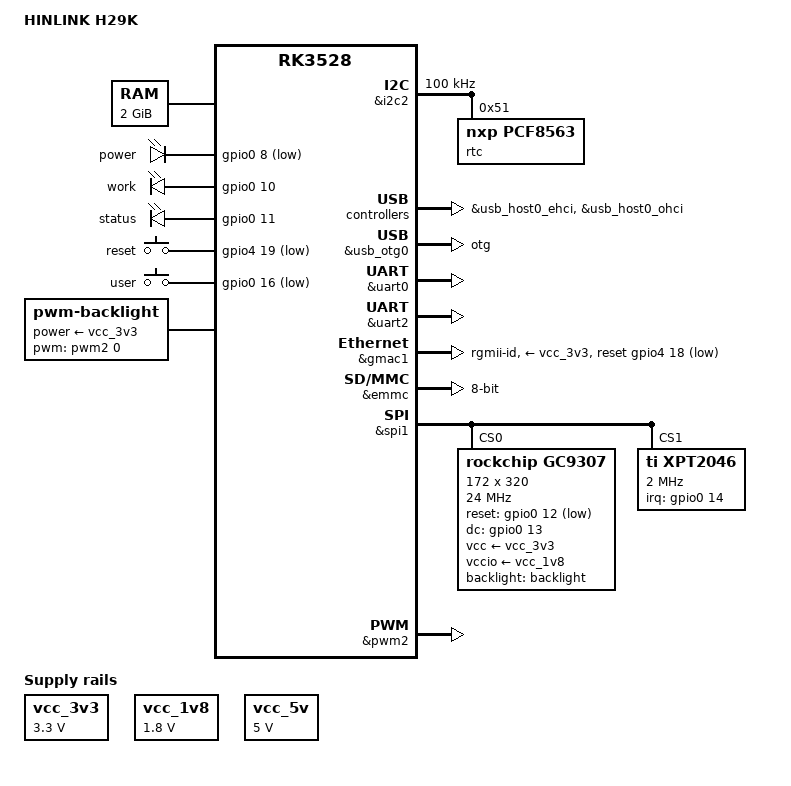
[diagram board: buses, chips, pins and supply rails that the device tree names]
/dts-v1/;
#include "rk3528.dtsi"
#include "rk3528-evb.dtsi"

/ {
    model = "HINLINK H29K";
    compatible = "hinlink,h29k", "rockchip,rk3528";

    chosen {
        stdout-path = "serial0:115200n8";
    };

    /* ====== MEMORY ====== */
    memory@80000000 {
        device_type = "memory";
        reg = <0x0 0x80000000 0x0 0x80000000>; /* 2GB */
    };

    /* ====== LEDS ====== */
    leds: leds {
        compatible = "gpio-leds";
        #address-cells = <1>;
        #size-cells = <0>;

        /* LED1: POWER (GPIO0_B0, active low) */
        power {
            label = "power";
            gpios = <&gpio0 8 GPIO_ACTIVE_LOW>; /* GPIO0_B0 → Pin#12 on 40pin header */
            linux,default-trigger = "default-on";
            default-state = "on";
        };

        /* LED2: WORK (GPIO0_B2, active high) */
        work {
            label = "work";
            gpios = <&gpio0 10 GPIO_ACTIVE_HIGH>; /* GPIO0_B2 → Pin#14 */
            linux,default-trigger = "heartbeat";
        };

        /* LED3: STATUS (GPIO0_B3, active high) */
        status {
            label = "status";
            gpios = <&gpio0 11 GPIO_ACTIVE_HIGH>; /* GPIO0_B3 → Pin#15 */
            linux,default-trigger = "cpu0";
        };
    };

    /* ====== KEYS ====== */
    keys: keys {
        compatible = "gpio-keys";
        #address-cells = <1>;
        #size-cells = <0>;
        autorepeat;

        /* KEY1: RESET (GPIO4_C3, active low) */
        reset {
            label = "reset";
            linux,code = <KEY_ESC>;
            gpios = <&gpio4 19 GPIO_ACTIVE_LOW>; /* GPIO4_C3 → Pin#36 */
            debounce-interval = <10>;
        };

        /* KEY2: USER (GPIO0_C0, active low) */
        user {
            label = "user";
            linux,code = <KEY_ENTER>;
            gpios = <&gpio0 16 GPIO_ACTIVE_LOW>; /* GPIO0_C0 → Pin#22 */
            debounce-interval = <10>;
        };
    };

    /* ====== REGULATORS ====== */
    pmu: power-management@ff600000 {
        compatible = "rockchip,rk3528-pmu";
        #address-cells = <2>;
        #size-cells = <2>;
        ranges;

        /* VCC_3V3: Power for LCD, Touch, SDIO, USB */
        vcc_3v3: vcc-3v3 {
            compatible = "regulator-fixed";
            regulator-name = "vcc_3v3";
            regulator-min-microvolt = <3300000>;
            regulator-max-microvolt = <3300000>;
            regulator-always-on;
            regulator-boot-on;
        };

        /* VCC_1V8: I/O voltage for LCD, Touch, UART */
        vcc_1v8: vcc-1v8 {
            compatible = "regulator-fixed";
            regulator-name = "vcc_1v8";
            regulator-min-microvolt = <1800000>;
            regulator-max-microvolt = <1800000>;
            regulator-always-on;
            regulator-boot-on;
        };

        /* VCC_5V: USB Host, GMAC PHY */
        vcc_5v: vcc-5v {
            compatible = "regulator-fixed";
            regulator-name = "vcc_5v";
            regulator-min-microvolt = <5000000>;
            regulator-max-microvolt = <5000000>;
            regulator-always-on;
            regulator-boot-on;
        };
    };

    /* ====== BACKLIGHT (PWM2) ====== */
    backlight: backlight {
        compatible = "pwm-backlight";
        pwms = <&pwm2 0 5000000 0>;
        brightness-levels = <
            0 16 32 48 64 80 96 112 128 144 160 176 192 208 224 240 255
        >;
        default-brightness-level = <16>;
        power-supply = <&vcc_3v3>;
    };

    /* ====== RTC (PCF8563 via I2C2) ====== */
    &i2c2 {
        status = "okay";
        clock-frequency = <100000>;

        rtc@51 {
            compatible = "nxp,pcf8563";
            reg = <0x51>;
            #clock-cells = <0>;
        };
    };

    /* ====== USB HOST (USB2.0) ====== */
    &usb_host0_ehci {
        status = "okay";
    };

    &usb_host0_ohci {
        status = "okay";
    };

    /* ====== USB OTG (USB2.0) ====== */
    &usb_otg0 {
        dr_mode = "otg";
        status = "okay";
    };

    /* ====== AUDIO (I2S0) ====== */
    &i2s0 {
        status = "disabled"; /* Optional: enable if using audio codec */
    };

    /* ====== UART0 (DEBUG) ====== */
    &uart0 {
        status = "okay";
        pinctrl-names = "default";
        pinctrl-0 = <&uart0m0_xfer>;
    };

    /* ====== UART2 (BLE/RS232) ====== */
    &uart2 {
        status = "okay";
        pinctrl-names = "default";
        pinctrl-0 = <&uart2m0_xfer>;
    };

    /* ====== ETHERNET (GMAC1) ====== */
    &gmac1 {
        phy-mode = "rgmii-id";
        phy-supply = <&vcc_3v3>;
        snps,reset-gpio = <&gpio4 18 GPIO_ACTIVE_LOW>; /* GPIO4_C2 */
        snps,reset-delays-us = <10000 20000 100000>;
        status = "okay";
    };

    /* ====== EMMC ====== */
    &emmc {
        status = "okay";
        mmc-hs200-1_8v;
        mmc-hs400-1_8v;
        no-sdio;
        no-sd;
        bus-width = <8>;
        cap-mmc-highspeed;
        cap-sd-highspeed;
        cap-power-off-card;
        disable-wp;
        broken-cd;
    };

    /* ====== SPI1 FOR GC9307 + XPT2046 ====== */
    &spi1 {
        status = "okay";
        /delete-node/ spidev@0;

        /* --- GC9307 LCD (HSX0147015001B-A0) --- */
        gc9307@0 {
            compatible = "rockchip,gc9307";
            reg = <0>;
            spi-max-frequency = <24000000>;
            #address-cells = <1>;
            #size-cells = <0>;

            vcc-supply = <&vcc_3v3>;
            vccio-supply = <&vcc_1v8>;

            reset-gpios = <&gpio0 12 GPIO_ACTIVE_LOW>; /* GPIO0_B4 */
            dc-gpios = <&gpio0 13 GPIO_ACTIVE_HIGH>;   /* GPIO0_B5 */
            backlight = <&backlight>;

            width = <172>;
            height = <320>;
            rotate = <0>;     /* 0° + swap-xy = landscape */
            fps = <60>;
            spi-cpol;        /* CPOL=1 required */
            spi-cpha;
            rockchip,spi-rx-bus-width = <0>;
            rockchip,spi-tx-bus-width = <1>;
            rgb;             /* GC9307 uses RGB565 */
            reset-duration-us = <15000>;
            vcom = <0x24>;
            gamma-curve = <0x04>;
            swap-xy;         /* Critical for horizontal display */
        };

        /* --- XPT2046 TOUCHSCREEN --- */
        xpt2046@1 {
            compatible = "ti,xpt2046";
            reg = <1>;
            spi-max-frequency = <2000000>;
            interrupt-parent = <&gpio0>;
            interrupts = <14 IRQ_TYPE_EDGE_FALLING>; /* GPIO0_B6 */
            ti,vref-delay-usecs = <100>;
            ti,keep-vref-on = <0>;
            ti,settle-delay-usecs = <150>;
            ti,pen-up-delay-usecs = <200>;
            ti,x-plate-ohms = <400>;
            ti,pressure-max = <255>;
            ti,x-min = <0>;
            ti,x-max = <171>;
            ti,y-min = <0>;
            ti,y-max = <319>;
            touchscreen-inverted-x;
            touchscreen-swapped-x-y;
            linux,swap-x-y;
            linux,ts-resistance-threshold = <200>;
        };
    };

    /* ====== PWM2 FOR BACKLIGHT ====== */
    &pwm2 {
        status = "okay";
    };

    /* ====== WATCHDOG ====== */
    &watchdog {
        status = "okay";
    };
};

/* ====== PINCTRL DEFINITIONS ====== */
&pinctrl {
    /* UART0: TX/RX */
    uart0m0_xfer: uart0m0-xfer {
        rockchip,pins = <
            RK_PA0 0x1001 /* uart0_tx */
            RK_PA1 0x1001 /* uart0_rx */
        >;
    };

    /* UART2: TX/RX */
    uart2m0_xfer: uart2m0-xfer {
        rockchip,pins = <
            RK_PC0 0x1001 /* uart2_tx */
            RK_PC1 0x1001 /* uart2_rx */
        >;
    };

    /* SPI1: CLK/MOSI/CS0/CS1 */
    spi1m0_pins: spi1m0-pins {
        rockchip,pins = <
            RK_PB0 0x1101 /* spi1_clk  → CPOL=1 needs pull-up */
            RK_PB1 0x1101 /* spi1_mosi */
        >;
    };

    spi1m0_cs0: spi1m0-cs0 {
        rockchip,pins = <
            RK_PB3 0x1101 /* spi1_cs0 */
        >;
    };

    spi1m0_cs1: spi1m0-cs1 {
        rockchip,pins = <
            RK_PB4 0x1101 /* spi1_cs1 → shared with LCD RESET */
        >;
    };

    /* LCD GPIOs: RESET & DC */
    lcd_gpio_pins: lcd-gpio-pins {
        rockchip,pins = <
            RK_PB4 0x1001 /* gpio0_b4 → RESET (and CS1!) */
            RK_PB5 0x1001 /* gpio0_b5 → DC */
        >;
    };

    /* TOUCH INTERRUPT */
    touch_int_pins: touch-int-pins {
        rockchip,pins = <
            RK_PB6 0x1001 /* gpio0_b6 → INT */
        >;
    };

    /* PWM2 */
    pwm2m0_pins: pwm2m0-pins {
        rockchip,pins = <
            RK_PG6 0x1001 /* pwm2_ch0 */
        >;
    };

    /* RESET BUTTON (GPIO4_C3) */
    key_reset_pins: key-reset-pins {
        rockchip,pins = <
            RK_PD3 0x1001 /* gpio4_c3 → RESET KEY */
        >;
    };

    /* USER BUTTON (GPIO0_C0) */
    key_user_pins: key-user-pins {
        rockchip,pins = <
            RK_PC0 0x1001 /* gpio0_c0 → USER KEY */
        >;
    };

    /* LED GPIOs */
    led_power_pins: led-power-pins {
        rockchip,pins = <
            RK_PB0 0x1001 /* gpio0_b0 → POWER LED */
        >;
    };

    led_work_pins: led-work-pins {
        rockchip,pins = <
            RK_PB2 0x1001 /* gpio0_b2 → WORK LED */
        >;
    };

    led_status_pins: led-status-pins {
        rockchip,pins = <
            RK_PB3 0x1001 /* gpio0_b3 → STATUS LED */
        >;
    };
};

/* ====== BIND PINCTRL TO NODES ====== */
&uart0 {
    pinctrl-names = "default";
    pinctrl-0 = <&uart0m0_xfer>;
};

&uart2 {
    pinctrl-names = "default";
    pinctrl-0 = <&uart2m0_xfer>;
};

&spi1 {
    pinctrl-names = "default";
    pinctrl-0 = <&spi1m0_pins &spi1m0_cs0 &spi1m0_cs1 &lcd_gpio_pins &touch_int_pins>;
};

&pwm2 {
    pinctrl-names = "default";
    pinctrl-0 = <&pwm2m0_pins>;
};

&gmac1 {
    pinctrl-names = "default";
    pinctrl-0 = <&gmac1m0_xfer>;
};

&keys {
    pinctrl-names = "default";
    pinctrl-0 = <&key_reset_pins &key_user_pins>;
};

&leds {
    pinctrl-names = "default";
    pinctrl-0 = <&led_power_pins &led_work_pins &led_status_pins>;
};
